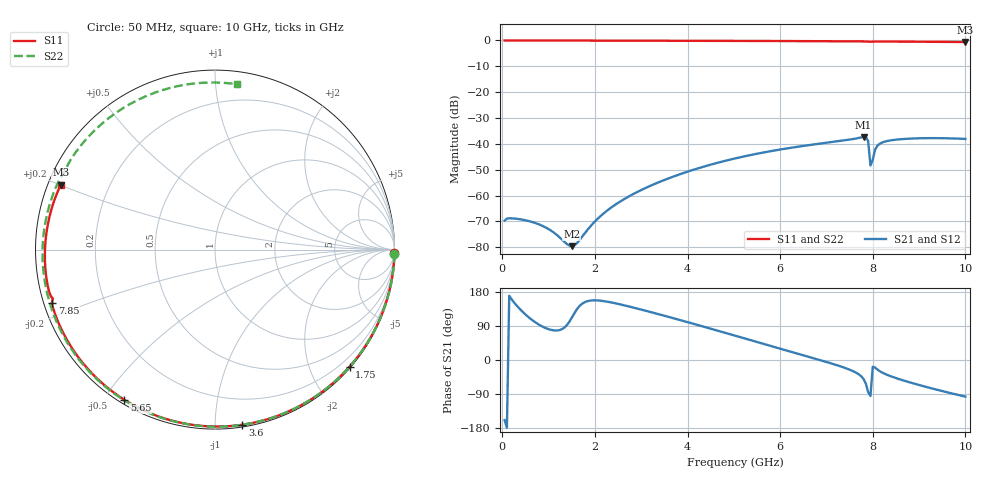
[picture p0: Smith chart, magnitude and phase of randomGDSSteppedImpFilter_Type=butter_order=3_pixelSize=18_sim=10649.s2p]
! freq	dB(S11)	phase(S11)	dB(S12)	phase(S12)
!  dB(S21)	phase(S21)	dB(S22)	phase(S22)
!S-par simulation data
#  GHz  S  DB  R 50
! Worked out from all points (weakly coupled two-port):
!   200 points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, 50 MHz to 10 GHz, reference 50 ohm
!   highest |S21| = -37.31 dB at 7.8 GHz (marker M1); lowest = -79.6 dB at 1.5 GHz (marker M2)
!   lowest |S11| = -0.6 dB at 10 GHz (marker M3), VSWR 28.63, Z = 1.82 + j10.1 ohm
!   |S11| at or under -10 dB: nowhere
!   |S22| runs from -0.6 to 0.0 dB; largest |S21 - S12| = 0
!   S11 on the Smith chart (normalised r, x): 50 MHz: 0, -95; 1.75 GHz: 0.02, -2.67; 3.6 GHz: 0.01, -1.17; 5.65 GHz: 0.02, -0.56; 7.85 GHz: 0.02, -0.16; 10 GHz: 0.04, +0.20
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0.05  -0.00 -1.2  -69.71 -158.6  -69.71 -158.6  -0.00 -1.4
0.25  -0.00 -6.0  -68.88 152.4  -68.88 152.4  -0.00 -7.0
0.75  -0.02 -17.9  -70.87 96.4  -70.87 96.4  -0.02 -21.0
1.5  -0.04 -35.3  -79.59 111.5  -79.59 111.5  -0.05 -41.6
1.75  -0.05 -41.0  -75.33 150.6  -75.33 150.6  -0.06 -48.4
2.05  -0.06 -47.8  -69.14 157.3  -69.14 157.3  -0.07 -56.4
2.4  -0.07 -55.6  -64.04 150.7  -64.04 150.7  -0.08 -65.6
3.4  -0.10 -77.0  -54.70 120.1  -54.70 120.1  -0.12 -91.1
3.6  -0.11 -81.1  -53.29 113.5  -53.29 113.5  -0.13 -96.1
5.05  -0.17 -109.8  -45.55 63.4  -45.55 63.4  -0.20 -131.7
5.65  -0.20 -121.2  -43.31 42.3  -43.31 42.3  -0.24 -146.5
6.7  -0.27 -140.5  -40.30 5.6  -40.30 5.6  -0.32 -173.1
7.8  -0.38 -160.9  -37.31 -50.1  -37.31 -50.1  -0.44 156.3
7.85  -0.40 -162.0  -37.33 -62.2  -37.33 -62.2  -0.46 154.7
7.9  -0.47 -162.9  -38.91 -84.8  -38.91 -84.8  -0.50 153.3
7.95  -0.51 -163.2  -48.35 -94.8  -48.35 -94.8  -0.52 152.2
8  -0.46 -163.8  -46.14 -17.9  -46.14 -17.9  -0.49 150.8
8.05  -0.43 -164.8  -42.20 -20.0  -42.20 -20.0  -0.48 149.3
8.1  -0.42 -165.8  -40.72 -25.2  -40.72 -25.2  -0.47 147.7
8.35  -0.42 -170.6  -38.77 -41.1  -38.77 -41.1  -0.49 139.9
9.25  -0.52 172.2  -37.78 -74.2  -37.78 -74.2  -0.57 109.9
10  -0.61 157.2  -38.09 -96.6  -38.09 -96.6  -0.64 82.6
